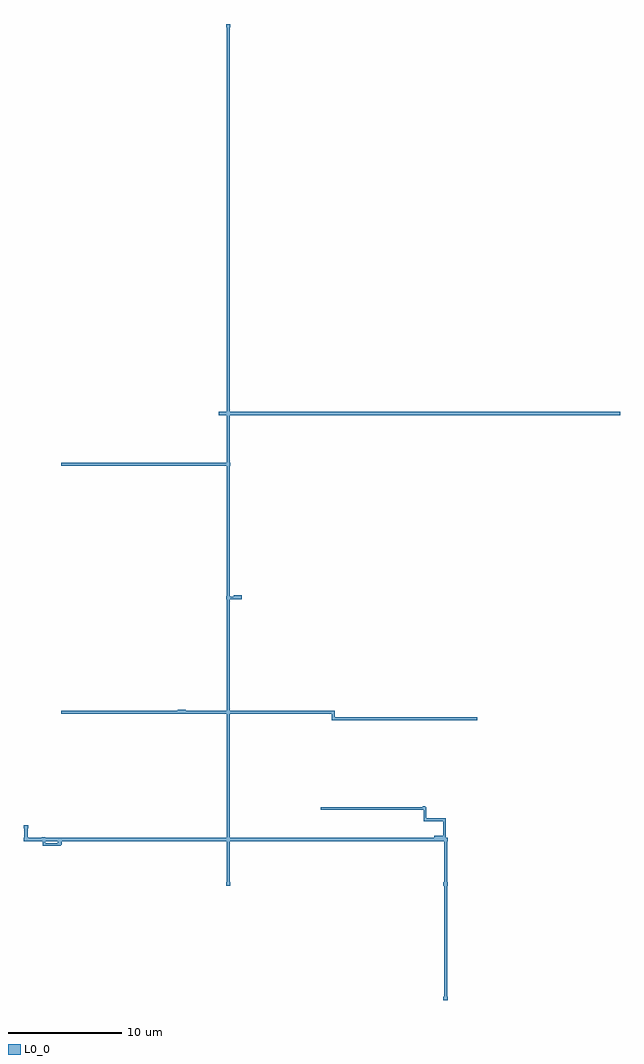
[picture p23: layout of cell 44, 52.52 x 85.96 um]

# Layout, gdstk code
import gdstk
lib = gdstk.Library(unit=1e-6, precision=1e-09)
def P(c, l, *ps):  # polygons
    for p in ps: c.add(gdstk.Polygon(p, *l))
L0_0 = (0, 0)

c_44 = lib.new_cell('44')
P(c_44, L0_0, [(958.535,943.435),(959.31,943.435),(959.31,943.205),(958.535,943.205),(958.535,943.435)],
  [(959.12,943.55),(959.82,943.55),(959.82,943.18),(959.12,943.18),(959.12,943.55)],
  [(958.46,943.46),(958.84,943.46),(958.84,943.18),(958.46,943.18),(958.46,943.46)],
  [(954.18,933.1),(954.18,933.47),(954.88,933.47),(954.88,933.1),(954.18,933.1)],
  [(954.69,933.355),(958.765,933.355),(958.765,933.125),(954.69,933.125),(954.69,933.355)],
  [(958.46,933.38),(958.84,933.38),(958.84,933.1),(958.46,933.1),(958.46,933.38)],
  [(942.54,922.23),(942.54,921.725),(943.64,921.725),(943.64,921.915),(943.98,921.915),(943.98,921.575),(943.87,921.575),(943.87,921.495),(942.31,921.495),(942.31,921.89),(942.2,921.89),(942.2,921.945),(941.02,921.945),(941.02,921.89),(940.68,921.89),(940.68,922.23),(941.02,922.23),(941.02,922.175),(942.2,922.175),(942.2,922.23),(942.54,922.23)],
  [(976.01,924.95),(976.01,924.865),(976.085,924.865),(976.085,923.895),(977.795,923.895),(977.795,922.13),(976.795,922.13),(976.795,922.36),(977.565,922.36),(977.565,923.665),(975.855,923.665),(975.855,924.635),(966.785,924.635),(966.785,924.865),(975.78,924.865),(975.78,924.95),(976.01,924.95)],
  [(977.65,917.98),(977.65,922.18),(977.93,922.18),(977.93,917.98),(977.65,917.98)],
  [(977.65,907.9),(977.65,918.26),(977.93,918.26),(977.93,907.9),(977.65,907.9)],
  [(977.6,908.18),(977.98,908.18),(977.98,907.9),(977.6,907.9),(977.6,908.18)],
  [(977.6,922.18),(977.98,922.18),(977.98,921.9),(977.6,921.9),(977.6,922.18)],
  [(977.6,918.26),(977.98,918.26),(977.98,917.98),(977.6,917.98),(977.6,918.26)],
  [(940.64,923.3),(941.02,923.3),(941.02,923.02),(940.64,923.02),(940.64,923.3)],
  [(940.64,922.18),(941.02,922.18),(941.02,921.9),(940.64,921.9),(940.64,922.18)],
  [(940.69,921.9),(940.69,923.3),(940.97,923.3),(940.97,921.9),(940.69,921.9)],
  [(958.51,933.1),(958.51,943.46),(958.79,943.46),(958.79,933.1),(958.51,933.1)],
  [(958.51,921.9),(958.51,933.38),(958.79,933.38),(958.79,921.9),(958.51,921.9)],
  [(958.51,954.94),(958.51,959.7),(958.79,959.7),(958.79,954.94),(958.51,954.94)],
  [(958.51,943.18),(958.51,955.22),(958.79,955.22),(958.79,943.18),(958.51,943.18)],
  [(958.46,959.7),(958.84,959.7),(958.84,959.42),(958.46,959.42),(958.46,959.7)],
  [(958.46,933.38),(958.84,933.38),(958.84,933.1),(958.46,933.1),(958.46,933.38)],
  [(958.46,943.46),(958.84,943.46),(958.84,943.18),(958.46,943.18),(958.46,943.46)],
  [(958.51,922.41),(958.79,922.41),(958.79,921.67),(958.51,921.67),(958.51,922.41)],
  [(958.51,955.45),(958.79,955.45),(958.79,954.71),(958.51,954.71),(958.51,955.45)],
  [(958.51,921.9),(958.51,933.38),(958.79,933.38),(958.79,921.9),(958.51,921.9)],
  [(958.46,933.38),(958.84,933.38),(958.84,933.1),(958.46,933.1),(958.46,933.38)],
  [(958.51,922.41),(958.79,922.41),(958.79,921.67),(958.51,921.67),(958.51,922.41)],
  [(958.51,954.94),(958.51,959.7),(958.79,959.7),(958.79,954.94),(958.51,954.94)],
  [(958.51,943.18),(958.51,955.22),(958.79,955.22),(958.79,943.18),(958.51,943.18)],
  [(958.46,959.7),(958.84,959.7),(958.84,959.42),(958.46,959.42),(958.46,959.7)],
  [(958.46,943.46),(958.84,943.46),(958.84,943.18),(958.46,943.18),(958.46,943.46)],
  [(958.51,955.45),(958.79,955.45),(958.79,954.71),(958.51,954.71),(958.51,955.45)],
  [(958.46,943.46),(958.84,943.46),(958.84,943.18),(958.46,943.18),(958.46,943.46)],
  [(958.51,943.18),(958.51,955.22),(958.79,955.22),(958.79,943.18),(958.51,943.18)],
  [(958.51,955.45),(958.79,955.45),(958.79,954.71),(958.51,954.71),(958.51,955.45)],
  [(940.64,922.18),(941.02,922.18),(941.02,921.9),(940.64,921.9),(940.64,922.18)],
  [(977.6,922.18),(977.98,922.18),(977.98,921.9),(977.6,921.9),(977.6,922.18)],
  [(958.46,922.18),(958.84,922.18),(958.84,921.9),(958.46,921.9),(958.46,922.18)],
  [(958.51,922.18),(977.93,922.18),(977.93,921.9),(958.51,921.9),(958.51,922.18)],
  [(940.69,922.18),(958.79,922.18),(958.79,921.9),(940.69,921.9),(940.69,922.18)],
  [(940.64,922.18),(941.02,922.18),(941.02,921.9),(940.64,921.9),(940.64,922.18)],
  [(958.46,922.18),(958.84,922.18),(958.84,921.9),(958.46,921.9),(958.46,922.18)],
  [(940.69,922.18),(958.79,922.18),(958.79,921.9),(940.69,921.9),(940.69,922.18)],
  [(943.99,955.22),(958.79,955.22),(958.79,954.94),(943.99,954.94),(943.99,955.22)],
  [(958.46,955.22),(958.84,955.22),(958.84,954.94),(958.46,954.94),(958.46,955.22)],
  [(943.94,955.22),(944.32,955.22),(944.32,954.94),(943.94,954.94),(943.94,955.22)],
  [(968.41,959.7),(972.65,959.7),(972.65,959.42),(968.41,959.42),(968.41,959.7)],
  [(958.51,959.7),(968.69,959.7),(968.69,959.42),(958.51,959.42),(958.51,959.7)],
  [(968.36,959.7),(968.74,959.7),(968.74,959.42),(968.36,959.42),(968.36,959.7)],
  [(958.46,959.7),(958.84,959.7),(958.84,959.42),(958.46,959.42),(958.46,959.7)],
  [(972.32,959.7),(972.7,959.7),(972.7,959.42),(972.32,959.42),(972.32,959.7)],
  [(968.36,959.7),(968.74,959.7),(968.74,959.42),(968.36,959.42),(968.36,959.7)],
  [(958.46,959.7),(958.84,959.7),(958.84,959.42),(958.46,959.42),(958.46,959.7)],
  [(958.51,959.7),(968.69,959.7),(968.69,959.42),(958.51,959.42),(958.51,959.7)],
  [(951.86,933.38),(952.24,933.38),(952.24,933.1),(951.86,933.1),(951.86,933.38)],
  [(961.76,933.38),(962.14,933.38),(962.14,933.1),(961.76,933.1),(961.76,933.38)],
  [(943.94,933.38),(944.32,933.38),(944.32,933.1),(943.94,933.1),(943.94,933.38)],
  [(943.99,933.38),(952.19,933.38),(952.19,933.1),(943.99,933.1),(943.99,933.38)],
  [(951.91,933.38),(962.09,933.38),(962.09,933.1),(951.91,933.1),(951.91,933.38)],
  [(961.81,933.38),(968.03,933.38),(968.03,933.1),(961.81,933.1),(961.81,933.38)],
  [(967.75,932.54),(967.75,933.38),(968.03,933.38),(968.03,932.54),(967.75,932.54)],
  [(951.86,933.38),(952.24,933.38),(952.24,933.1),(951.86,933.1),(951.86,933.38)],
  [(961.76,933.38),(962.14,933.38),(962.14,933.1),(961.76,933.1),(961.76,933.38)],
  [(951.91,933.38),(962.09,933.38),(962.09,933.1),(951.91,933.1),(951.91,933.38)],
  [(961.81,933.38),(968.03,933.38),(968.03,933.1),(961.81,933.1),(961.81,933.38)],
  [(967.75,932.54),(967.75,933.38),(968.03,933.38),(968.03,932.54),(967.75,932.54)],
  [(967.75,932.82),(980.57,932.82),(980.57,932.54),(967.75,932.54),(967.75,932.82)],
  [(958.46,918.26),(958.84,918.26),(958.84,917.98),(958.46,917.98),(958.46,918.26)],
  [(958.46,993.86),(958.84,993.86),(958.84,993.58),(958.46,993.58),(958.46,993.86)],
  [(958.51,917.98),(958.51,993.86),(958.79,993.86),(958.79,917.98),(958.51,917.98)],
  [(957.8,959.7),(958.18,959.7),(958.18,959.42),(957.8,959.42),(957.8,959.7)],
  [(957.85,959.7),(993.11,959.7),(993.11,959.42),(957.85,959.42),(957.85,959.7)],
  [(992.78,959.7),(993.16,959.7),(993.16,959.42),(992.78,959.42),(992.78,959.7)])

lib.write_gds('44.gds')
